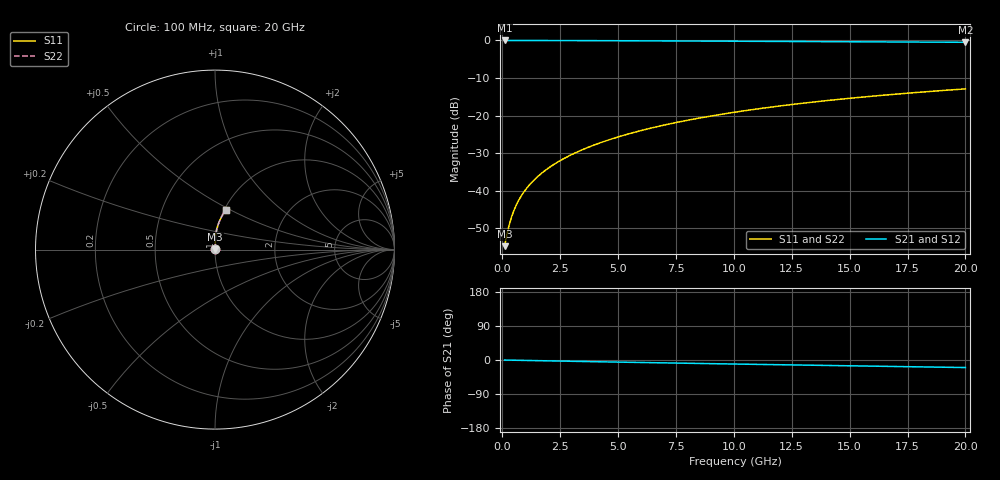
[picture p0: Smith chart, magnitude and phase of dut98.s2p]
! Touchstone file exported from HFSS 2024.1.0
!  File:  C:/UserFiles/LocalFiles/RDL_TSV_Batchsim/temp_RDL_bottom_98_1778695107.aedt
!  Generated:  02:01:17 AM May 14, 2026
!  Design:  RDL_bottom
!  Project:  temp_RDL_bottom_98_1778695107
!  Setup:  Setup1
!  Solution:  Sweep
! Variables:
!  dtsv = 10.80580581um
!  hbump = 3um
!  htsv = 84.47um
!  ldown = 223.91um
!  lrdl = 100um
!  p = 40
!  p1 = 58.69um
!  rhole = 1um
!  t = 450um
!  tdown = 2.76um
!  trdl = 3.915915916um
!  wdown = 24.26um
!  wrdl = 20um
# GHz S MA R 50.000000
! Terminal data exported
! Port[1] = RDL1_T1
! Port[2] = RDL1_T2
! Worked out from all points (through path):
!   200 points, 100 MHz to 20 GHz, reference 50 ohm
!   highest |S21| = -0.01 dB at 100 MHz (marker M1); lowest = -0.5 dB at 20 GHz (marker M2)
!   group delay of S21, straight-line fit = 2.74 ps
!   lowest |S11| = -54.7 dB at 100 MHz (marker M3), VSWR 1.00, Z = 50.1 + j0.108 ohm
!   |S11| at or under -10 dB: start of sweep to end of sweep
!   |S22| runs from -54.7 to -12.9 dB; largest |S21 - S12| = 3.6e-15
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0.1  0.001834 35.8  0.9985 -0.1  0.9985 -0.1  0.001834 35.8
! Gamma 0 0 0 0
! Port Impedance 50 0 50 0
0.2  0.002613 54.7  0.9984 -0.2  0.9984 -0.2  0.002614 54.7
0.3  0.00353 64.2  0.9984 -0.4  0.9984 -0.4  0.003531 64.1
0.4  0.004486 69.5  0.9983 -0.5  0.9983 -0.5  0.004487 69.4
0.5  0.005452 72.8  0.9982 -0.6  0.9982 -0.6  0.005453 72.8
0.6  0.006418 75.2  0.9981 -0.7  0.9981 -0.7  0.006419 75.2
0.8  0.008349 78.3  0.998 -0.9  0.998 -0.9  0.00835 78.3
1.1  0.01125 81.2  0.9977 -1.3  0.9977 -1.3  0.01125 81.2
1.5  0.01516 83.6  0.9973 -1.7  0.9973 -1.7  0.01516 83.6
1.8  0.01813 84.8  0.9969 -2.1  0.9969 -2.1  0.01813 84.8
2.1  0.02113 85.7  0.9965 -2.4  0.9965 -2.4  0.02113 85.7
2.7  0.02725 86.9  0.9955 -3.1  0.9955 -3.1  0.02725 86.9
3.5  0.03562 87.9  0.9939 -4.0  0.9939 -4.0  0.03562 87.9
4.2  0.04316 88.3  0.9923 -4.7  0.9923 -4.7  0.04316 88.3
5  0.052 88.4  0.9902 -5.6  0.9902 -5.6  0.052 88.4
5.9  0.06219 88.3  0.9877 -6.5  0.9877 -6.5  0.06219 88.3
6.8  0.0726 87.9  0.9851 -7.5  0.9851 -7.5  0.07259 87.9
8.4  0.09146 86.8  0.9803 -9.1  0.9803 -9.1  0.09145 86.8
10.1  0.1117 85.3  0.9752 -10.7  0.9752 -10.7  0.1117 85.3
13.4  0.1511 81.9  0.965 -13.9  0.965 -13.9  0.1511 81.9
16.7  0.1895 78.4  0.9547 -16.9  0.9547 -16.9  0.1895 78.4
20  0.2266 75.0  0.9439 -19.9  0.9439 -19.9  0.2266 75.0
